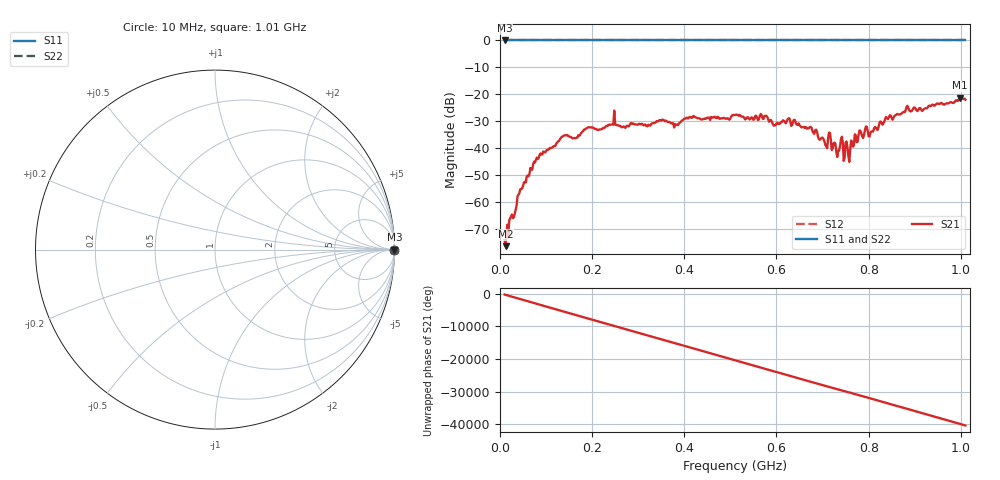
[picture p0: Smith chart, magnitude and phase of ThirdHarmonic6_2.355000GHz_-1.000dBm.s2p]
! 8/17/2025 3:34:45 AM
! C:\ANRITSUVNA\TEMP\TEMP.S2P
! CHANNEL.1
! TR.MEASUREMENT
! RAW.DATA
! RF.CORRECTION.OFF
! AVERAGING.OFF
! IF.BANDWIDTH: 5KHZ
! SWEEPTYPE:  FREQ.SWEEP(Linear)
! Reference Plane Port Info
! PORT:  PORT1  PORT2
! DISTANCE:  0  m  0  m
! TIME:  0  s  0  s
! PHASE.OFFSET:  0  deg.  0  deg.
! LOSS:  0  dB  0  dB
! REF.LOSS:  0  dB  0  dB
! REF.FREQ:  0  Hz  0  Hz
! Power Info
! POWER:  -20  dBm  -20  dBm
! EFF.POWER:  -20  dBm  -20  dBm
! SOURCE.ATTEN:  0  dB  0  dB
! TEST.ATTEN:  0  dB  0  dB
# GHZ S RI R 50.0
! FREQ.GHZ  S11RE  S11IM  S21RE  S21IM  S12RE  S12IM  S22RE  S22IM
!; PortSelection: Port_12
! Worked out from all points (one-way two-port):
!   501 points, 10 MHz to 1.01 GHz, reference 50 ohm
!   highest |S21| = -21.20 dB at 998 MHz (marker M1); lowest = -76.3 dB at 12 MHz (marker M2)
!   lowest |S11| = 0.0 dB at 10 MHz (marker M3)
!   |S11| at or under -10 dB: nowhere
!   |S22| runs from 0.0 to 0.0 dB; largest |S21 - S12| = 1.1
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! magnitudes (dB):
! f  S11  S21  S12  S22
! 10 MHz  0.0  -74.0  0.0  0.0
! 12 MHz  0.0  -76.3  0.0  0.0
! 42 MHz  0.0  -56.7  0.0  0.0
! 76 MHz  0.0  -45.2  0.0  0.0
! 136 MHz  0.0  -35.6  0.0  0.0
! 178 MHz  0.0  -34.0  0.0  0.0
! 244 MHz  0.0  -31.1  0.0  0.0
! 344 MHz  0.0  -29.9  0.0  0.0
! 382 MHz  0.0  -31.3  0.0  0.0
! 510 MHz  0.0  -27.7  0.0  0.0
! 626 MHz  0.0  -28.9  0.0  0.0
! 678 MHz  0.0  -33.5  0.0  0.0
! 706 MHz  0.0  -38.7  0.0  0.0
! 714 MHz  0.0  -34.2  0.0  0.0
! 732 MHz  0.0  -43.2  0.0  0.0
! 740 MHz  0.0  -36.7  0.0  0.0
! 756 MHz  0.0  -42.7  0.0  0.0
! 782 MHz  0.0  -33.4  0.0  0.0
! 804 MHz  0.0  -34.2  0.0  0.0
! 844 MHz  0.0  -28.5  0.0  0.0
! 998 MHz  0.0  -21.2  0.0  0.0
! 1.01 GHz  0.0  -22.0  0.0  0.0
